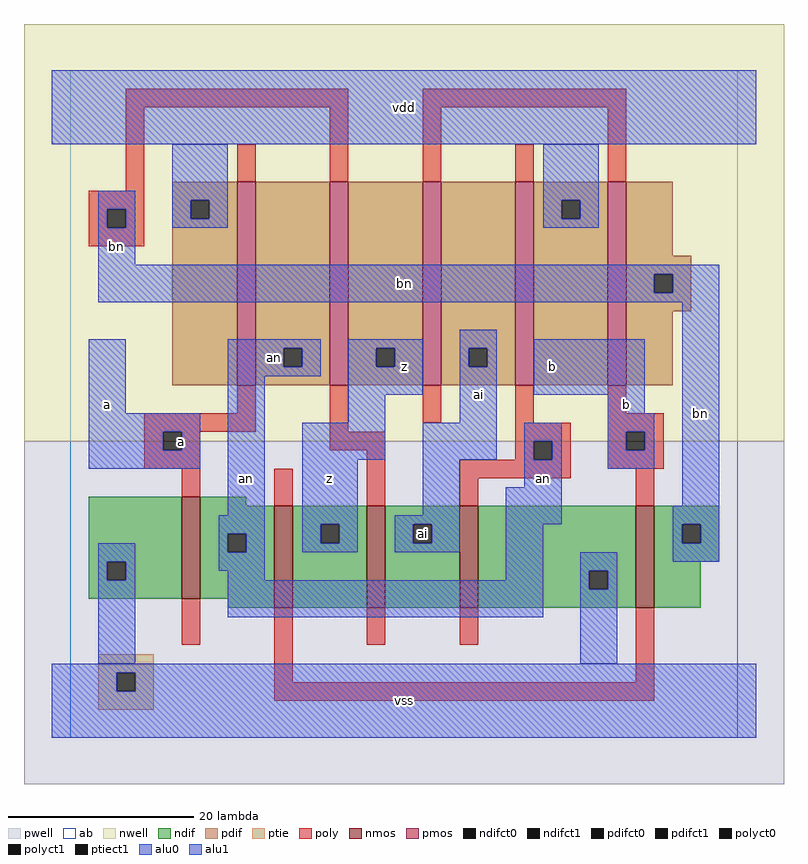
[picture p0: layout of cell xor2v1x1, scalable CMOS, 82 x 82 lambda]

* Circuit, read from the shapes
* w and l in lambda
.subckt xor2v1x1 a ai an b bn vdd vss z
M1 an a vss vss nfet w=11 l=2
M2 z b an vss nfet w=11 l=2
M3 ai bn z vss nfet w=11 l=2
M4 vss an ai vss nfet w=11 l=2
M5 bn b vss vss nfet w=11 l=2
M6 an a vdd n1 pfet w=22 l=2
M7 z bn an n1 pfet w=22 l=2
M8 ai b z n1 pfet w=22 l=2
M9 vdd an ai n1 pfet w=22 l=2
M10 bn b vdd n1 pfet w=22 l=2
.ends

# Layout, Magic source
magic
tech scmos
<< ab >>
rect 0 0 72 72
<< nwell >>
rect -5 32 77 77
<< pwell >>
rect -5 -5 77 32
<< poly >>
rect 6 68 30 70
rect 6 59 8 68
rect 18 60 20 64
rect 28 60 30 68
rect 38 68 60 70
rect 38 60 40 68
rect 48 60 50 64
rect 58 60 60 68
rect 2 57 8 59
rect 2 55 4 57
rect 6 55 8 57
rect 2 53 8 55
rect 18 35 20 38
rect 8 33 20 35
rect 28 33 30 38
rect 38 34 40 38
rect 48 34 50 38
rect 58 35 60 38
rect 8 31 10 33
rect 12 31 14 33
rect 28 31 34 33
rect 8 29 14 31
rect 12 26 14 29
rect 22 25 24 29
rect 32 25 34 31
rect 48 32 54 34
rect 48 30 50 32
rect 52 30 54 32
rect 42 28 54 30
rect 58 33 64 35
rect 58 31 60 33
rect 62 31 64 33
rect 58 29 64 31
rect 42 25 44 28
rect 61 25 63 29
rect 12 10 14 15
rect 22 6 24 14
rect 32 10 34 14
rect 42 10 44 14
rect 61 6 63 14
rect 22 4 63 6
<< ndif >>
rect 2 19 12 26
rect 2 17 4 19
rect 6 17 12 19
rect 2 15 12 17
rect 14 25 19 26
rect 14 22 22 25
rect 14 20 17 22
rect 19 20 22 22
rect 14 15 22 20
rect 17 14 22 15
rect 24 23 32 25
rect 24 21 27 23
rect 29 21 32 23
rect 24 14 32 21
rect 34 23 42 25
rect 34 21 37 23
rect 39 21 42 23
rect 34 14 42 21
rect 44 18 61 25
rect 44 16 56 18
rect 58 16 61 18
rect 44 14 61 16
rect 63 23 70 25
rect 63 21 66 23
rect 68 21 70 23
rect 63 19 70 21
rect 63 14 68 19
<< pdif >>
rect 11 58 18 60
rect 11 56 13 58
rect 15 56 18 58
rect 11 38 18 56
rect 20 42 28 60
rect 20 40 23 42
rect 25 40 28 42
rect 20 38 28 40
rect 30 42 38 60
rect 30 40 33 42
rect 35 40 38 42
rect 30 38 38 40
rect 40 42 48 60
rect 40 40 43 42
rect 45 40 48 42
rect 40 38 48 40
rect 50 58 58 60
rect 50 56 53 58
rect 55 56 58 58
rect 50 38 58 56
rect 60 52 65 60
rect 60 50 67 52
rect 60 48 63 50
rect 65 48 67 50
rect 60 46 67 48
rect 60 38 65 46
<< alu1 >>
rect -2 64 74 72
rect 2 35 6 43
rect 30 42 38 43
rect 30 40 33 42
rect 35 40 38 42
rect 2 33 14 35
rect 2 31 10 33
rect 12 31 14 33
rect 2 29 14 31
rect 30 37 38 40
rect 30 34 34 37
rect 50 37 62 43
rect 58 35 62 37
rect 25 30 34 34
rect 25 23 31 30
rect 58 33 63 35
rect 58 31 60 33
rect 62 31 63 33
rect 58 29 63 31
rect 25 21 27 23
rect 29 21 31 23
rect 25 20 31 21
rect -2 7 74 8
rect -2 5 5 7
rect 7 5 74 7
rect -2 0 74 5
<< ptie >>
rect 3 7 9 9
rect 3 5 5 7
rect 7 5 9 7
rect 3 3 9 5
<< nmos >>
rect 12 15 14 26
rect 22 14 24 25
rect 32 14 34 25
rect 42 14 44 25
rect 61 14 63 25
<< pmos >>
rect 18 38 20 60
rect 28 38 30 60
rect 38 38 40 60
rect 48 38 50 60
rect 58 38 60 60
<< polyct0 >>
rect 4 55 6 57
rect 50 30 52 32
<< polyct1 >>
rect 10 31 12 33
rect 60 31 62 33
<< ndifct0 >>
rect 4 17 6 19
rect 17 20 19 22
rect 37 21 39 23
rect 56 16 58 18
rect 66 21 68 23
<< ndifct1 >>
rect 27 21 29 23
<< ptiect1 >>
rect 5 5 7 7
<< pdifct0 >>
rect 13 56 15 58
rect 23 40 25 42
rect 43 40 45 42
rect 53 56 55 58
rect 63 48 65 50
<< pdifct1 >>
rect 33 40 35 42
<< alu0 >>
rect 3 57 7 59
rect 3 55 4 57
rect 6 55 7 57
rect 11 58 17 64
rect 11 56 13 58
rect 15 56 17 58
rect 11 55 17 56
rect 51 58 57 64
rect 51 56 53 58
rect 55 56 57 58
rect 51 55 57 56
rect 3 51 7 55
rect 3 50 70 51
rect 3 48 63 50
rect 65 48 70 50
rect 3 47 70 48
rect 17 42 27 43
rect 17 40 23 42
rect 25 40 27 42
rect 17 39 27 40
rect 17 24 21 39
rect 42 42 46 44
rect 42 40 43 42
rect 45 40 46 42
rect 42 34 46 40
rect 16 22 21 24
rect 3 19 7 21
rect 3 17 4 19
rect 6 17 7 19
rect 16 20 17 22
rect 19 20 21 22
rect 38 30 46 34
rect 49 32 53 34
rect 49 30 50 32
rect 52 30 53 32
rect 38 24 42 30
rect 49 27 53 30
rect 35 23 42 24
rect 35 21 37 23
rect 39 21 42 23
rect 35 20 42 21
rect 47 23 53 27
rect 66 25 70 47
rect 65 23 70 25
rect 16 18 21 20
rect 3 8 7 17
rect 17 17 21 18
rect 47 17 51 23
rect 65 21 66 23
rect 68 21 70 23
rect 17 13 51 17
rect 55 18 59 20
rect 65 19 70 21
rect 55 16 56 18
rect 58 16 59 18
rect 55 8 59 16
<< labels >>
rlabel alu0 5 53 5 53 6 bn
rlabel alu0 19 28 19 28 6 an
rlabel alu0 22 41 22 41 6 an
rlabel ndifct0 38 22 38 22 6 ai
rlabel alu0 44 37 44 37 6 ai
rlabel alu0 51 28 51 28 6 an
rlabel alu0 68 35 68 35 6 bn
rlabel alu0 36 49 36 49 6 bn
rlabel alu1 12 32 12 32 6 a
rlabel alu1 4 36 4 36 6 a
rlabel alu1 28 28 28 28 6 z
rlabel alu1 36 4 36 4 6 vss
rlabel alu1 52 40 52 40 6 b
rlabel alu1 36 40 36 40 6 z
rlabel alu1 36 68 36 68 6 vdd
rlabel alu1 60 36 60 36 6 b
<< end >>
